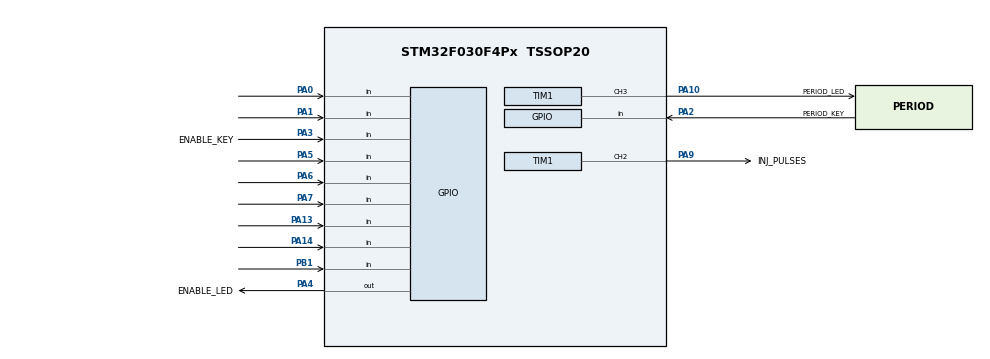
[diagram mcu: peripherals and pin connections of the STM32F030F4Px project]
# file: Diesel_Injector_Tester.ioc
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IWDG.Prescaler=IWDG_PRESCALER_8
IWDG.Reload=50
IWDG.Window=50
Mcu.Family=STM32F0
Mcu.Name=STM32F030F4Px
Mcu.Package=TSSOP20
PA0.GPIO_PuPd=GPIO_PULLUP
PA0.Signal=GPIO_Input
PA1.GPIO_PuPd=GPIO_PULLUP
PA1.Signal=GPIO_Input
PA10.GPIO_Label=PERIOD_LED
PA10.GPIO_Speed=GPIO_SPEED_FREQ_HIGH
PA10.Signal=S_TIM1_CH3
PA13.GPIO_PuPd=GPIO_PULLUP
PA13.Signal=GPIO_Input
PA14.GPIO_PuPd=GPIO_PULLUP
PA14.Signal=GPIO_Input
PA2.GPIO_Label=PERIOD_KEY
PA2.GPIO_PuPd=GPIO_PULLUP
PA2.Signal=GPIO_Input
PA3.GPIO_Label=ENABLE_KEY
PA3.GPIO_PuPd=GPIO_PULLUP
PA3.Signal=GPIO_Input
PA4.GPIO_Label=ENABLE_LED
PA4.GPIO_Speed=GPIO_SPEED_FREQ_HIGH
PA4.Signal=GPIO_Output
PA5.GPIO_PuPd=GPIO_PULLUP
PA5.Signal=GPIO_Input
PA6.GPIO_PuPd=GPIO_PULLUP
PA6.Signal=GPIO_Input
PA7.GPIO_PuPd=GPIO_PULLUP
PA7.Signal=GPIO_Input
PA9.GPIO_Label=INJ_PULSES
PA9.GPIO_Speed=GPIO_SPEED_FREQ_HIGH
PA9.Signal=S_TIM1_CH2
PB1.GPIO_PuPd=GPIO_PULLUP
PB1.Signal=GPIO_Input
PF0-OSC_IN.Mode=HSE-External-Oscillator
PF0-OSC_IN.Signal=RCC_OSC_IN
PF1-OSC_OUT.Mode=HSE-External-Oscillator
PF1-OSC_OUT.Signal=RCC_OSC_OUT
ProjectManager.HeapSize=0x200
ProjectManager.StackSize=0x400
ProjectManager.TargetToolchain=STM32CubeIDE
RCC.AHBCLKDivider=RCC_SYSCLK_DIV4
RCC.AHBFreq_Value=10000000
RCC.APB1Freq_Value=10000000
RCC.APB1TimFreq_Value=10000000
RCC.HCLKFreq_Value=10000000
RCC.HSE_VALUE=10000000
RCC.PLLMUL=RCC_PLL_MUL4
RCC.PLLSourceVirtual=RCC_PLLSOURCE_HSE
RCC.SYSCLKFreq_VALUE=40000000
RCC.SYSCLKSource=RCC_SYSCLKSOURCE_PLLCLK
SH.S_TIM1_CH2.0=TIM1_CH2,PWM Generation2 CH2
SH.S_TIM1_CH3.0=TIM1_CH3,PWM Generation3 CH3
TIM1.Channel-PWM\ Generation2\ CH2=TIM_CHANNEL_2
TIM1.Channel-PWM\ Generation3\ CH3=TIM_CHANNEL_3
TIM1.Period=1999
TIM1.Prescaler=999
TIM1.Pulse-PWM\ Generation2\ CH2=20
TIM1.Pulse-PWM\ Generation3\ CH3=500
TIM14.Prescaler=9999
VP_IWDG_VS_IWDG.Mode=IWDG_Activate
VP_TIM14_VS_ClockSourceINT.Mode=Enable_Timer
board=custom

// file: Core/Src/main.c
/* USER CODE BEGIN Header */
/**
  ******************************************************************************
  * @file           : main.c
  * @brief          : Main program body
  ******************************************************************************
  * @attention
  *
  * Copyright (c) 2025 STMicroelectronics.
  * All rights reserved.
  *
  * This software is licensed under terms that can be found in the LICENSE file
  * in the root directory of this software component.
  * If no LICENSE file comes with this software, it is provided AS-IS.
  *
  ******************************************************************************
  */
/* USER CODE END Header */
#include "main.h"
#include "iwdg.h"
#include "tim.h"
#include "gpio.h"

/* USER CODE BEGIN Includes */
#include <stdint.h>
#include <stdbool.h>
/* USER CODE END Includes */

void SystemClock_Config(void);

/* USER CODE BEGIN 0 */

/* ----------------------------------- LED ----------------------------------- */

/* LEDs definitions */
#define ENABLE_LED_ON			LL_GPIO_SetOutputPin(ENABLE_LED_GPIO_Port, ENABLE_LED_Pin)
#define ENABLE_LED_OFF			LL_GPIO_ResetOutputPin(ENABLE_LED_GPIO_Port, ENABLE_LED_Pin)

/* ------------------------------ OUTPUT TIMER ------------------------------- */

/* Injector periods */
#define NUMBER_OF_PERIODS	6
#define DEFAULT_PERIOD_IDX	2	//1Hz

#define MINIMUM_PERIOD		500	//20Hz

void Init_output_timer(uint16_t default_period)
{
	/* Set default period */
	LL_TIM_SetAutoReload(TIM1, (default_period > MINIMUM_PERIOD) ? (default_period - 1) : MINIMUM_PERIOD);

	/* Enable outputs */
	LL_TIM_EnableAllOutputs(TIM1);

	/* Enable counter */
	LL_TIM_EnableCounter(TIM1);

	/* Enable pulse LED, disable INJ pulses */
	LL_TIM_CC_EnableChannel(TIM1, LL_TIM_CHANNEL_CH3);
	LL_TIM_CC_DisableChannel(TIM1, LL_TIM_CHANNEL_CH2);
}

void Change_output_timer_period(uint16_t period, uint8_t pulses_enabled)
{
	/* Disable outputs and timer counter */
	LL_TIM_CC_DisableChannel(TIM1, LL_TIM_CHANNEL_CH2);
	LL_TIM_CC_DisableChannel(TIM1, LL_TIM_CHANNEL_CH3);
	LL_TIM_DisableCounter(TIM1);

	/* Reset counter */
	LL_TIM_SetCounter(TIM1, 0);

	/* Change period */
	LL_TIM_SetAutoReload(TIM1, (period > MINIMUM_PERIOD) ? (period - 1) : MINIMUM_PERIOD);

	/* Enable LED */
	LL_TIM_CC_EnableChannel(TIM1, LL_TIM_CHANNEL_CH3);

	/* Enable INJ pulses back only if flag is set */
	if(pulses_enabled == true)
	{
		LL_TIM_CC_EnableChannel(TIM1, LL_TIM_CHANNEL_CH2);
	}

	/* Enable counter back again */
	LL_TIM_EnableCounter(TIM1);
}

/* -------------------------------- KEYBOARD --------------------------------- */

/* Keyboard definitions */
#define KEYBOARD_DEBOUNCE_TIME	200	//ms

#define PERIOD_KEY_IS_PRESSED	(!(LL_GPIO_IsInputPinSet(PERIOD_KEY_GPIO_Port, PERIOD_KEY_Pin)))
#define ENABLE_KEY_IS_PRESSED	(!(LL_GPIO_IsInputPinSet(ENABLE_KEY_GPIO_Port, ENABLE_KEY_Pin)))
#define ALL_KEYS_ARE_RELEASED	(LL_GPIO_IsInputPinSet(PERIOD_KEY_GPIO_Port, PERIOD_KEY_Pin) && LL_GPIO_IsInputPinSet(ENABLE_KEY_GPIO_Port, ENABLE_KEY_Pin))

#define CLEAR_KBD_TIMER			LL_TIM_SetCounter(TIM14, 0)

enum KEYBOARD_KEYS
{
	NO_KEY		= 0,
	PERIOD_KEY	= 1,
	ENABLE_KEY	= 2
};

volatile uint8_t keyboard_locked = true;

void Init_keyboard(void)
{
	/* Keyboard is locked by default, to prevent accidental changes */
	keyboard_locked = true;

	/* Init keyboard timer */
	LL_TIM_EnableCounter(TIM14);

	/* Clear keyboard timer */
	CLEAR_KBD_TIMER;
}

uint8_t Get_keyboard_key(void)
{
	uint8_t key = NO_KEY;

	/* Check if keyboard is unlocked */
	if(keyboard_locked == false)
	{
		if(PERIOD_KEY_IS_PRESSED)
		{
			/* If PERIOD key is pressed, set key to PERIOD_KEY */
			key = PERIOD_KEY;

			/* Debounce keys */
			keyboard_locked = true;
			CLEAR_KBD_TIMER;
		}
		else if(ENABLE_KEY_IS_PRESSED)
		{
			/* If ENABLE key is pressed, set key to ENABLE_KEY */
			key = ENABLE_KEY;

			/* Debounce keys */
			keyboard_locked = true;
			CLEAR_KBD_TIMER;
		}
	}
	else
	{
		/* If keyboard is locked, check if timer has expired */
		if(LL_TIM_GetCounter(TIM14) > KEYBOARD_DEBOUNCE_TIME)
		{
			/* Unlock keyboard if all keys are released */
			if(ALL_KEYS_ARE_RELEASED)
			{
				/* Unlock keyboard */
				keyboard_locked = false;
			}
			else
			{
				/* Reset timer, wait another period */
				CLEAR_KBD_TIMER;
			}
		}

		/* If keyboard is locked, return NO_KEY */
		key = NO_KEY;
	}

	return key;
}

/* USER CODE END 0 */

int main(void)
{

  /* MCU Configuration--------------------------------------------------------*/

  /* Reset of all peripherals, Initializes the Flash interface and the Systick. */
  LL_APB1_GRP2_EnableClock(LL_APB1_GRP2_PERIPH_SYSCFG);
  LL_APB1_GRP1_EnableClock(LL_APB1_GRP1_PERIPH_PWR);

  /* SysTick_IRQn interrupt configuration */
  NVIC_SetPriority(SysTick_IRQn, 3);

  /* Configure the system clock */
  SystemClock_Config();

  /* Initialize all configured peripherals */
  MX_GPIO_Init();
  MX_TIM1_Init();
  MX_TIM14_Init();
  MX_IWDG_Init();
  /* USER CODE BEGIN 2 */

	/* Handle WDT */
	LL_IWDG_ReloadCounter(IWDG);

	const uint16_t auto_reload_periods[NUMBER_OF_PERIODS] = {50000, 20000, 10000, 5000, 2000, 1000};	//0.2Hz, 0.5Hz, 1Hz, 2Hz, 5Hz, 10Hz

	uint8_t injector_pulses_enabled	= false;
	uint8_t current_period			= DEFAULT_PERIOD_IDX;

	ENABLE_LED_OFF;

	/* Init output timer */
	Init_output_timer(auto_reload_periods[DEFAULT_PERIOD_IDX]);	//1Hz

	/* Init keyboard */
	Init_keyboard();

  /* USER CODE END 2 */

  /* Infinite loop */
  /* USER CODE BEGIN WHILE */
	while (1)
	{
		switch(Get_keyboard_key())
		{
			case PERIOD_KEY:

				/* Switch to next period */
				current_period++;
				if(current_period >= NUMBER_OF_PERIODS)
				{
					current_period = 0;
				}

				/* Update settings */
				Change_output_timer_period(auto_reload_periods[current_period], injector_pulses_enabled);
				break;

			case ENABLE_KEY:

				/* Toggle enable flag */
				if(injector_pulses_enabled == true)
				{
					ENABLE_LED_OFF;

					injector_pulses_enabled = false;
				}
				else
				{
					ENABLE_LED_ON;

					injector_pulses_enabled = true;
				}

				/* Update settings */
				Change_output_timer_period(auto_reload_periods[current_period], injector_pulses_enabled);
				break;

			default:

				/* No key pressed, do nothing */
				break;
		}

		/* Handle WDT */
		LL_IWDG_ReloadCounter(IWDG);
    /* USER CODE END WHILE */

	}
}

void SystemClock_Config(void)
{
  LL_FLASH_SetLatency(LL_FLASH_LATENCY_1);
  while(LL_FLASH_GetLatency() != LL_FLASH_LATENCY_1)
  {
  }
  LL_RCC_HSE_Enable();

   /* Wait till HSE is ready */
  while(LL_RCC_HSE_IsReady() != 1)
  {

  }
  LL_RCC_LSI_Enable();

   /* Wait till LSI is ready */
  while(LL_RCC_LSI_IsReady() != 1)
  {

  }
  LL_RCC_PLL_ConfigDomain_SYS(LL_RCC_PLLSOURCE_HSE_DIV_1, LL_RCC_PLL_MUL_4);
  LL_RCC_PLL_Enable();

   /* Wait till PLL is ready */
  while(LL_RCC_PLL_IsReady() != 1)
  {

  }
  LL_RCC_SetAHBPrescaler(LL_RCC_SYSCLK_DIV_4);
  LL_RCC_SetAPB1Prescaler(LL_RCC_APB1_DIV_1);
  LL_RCC_SetSysClkSource(LL_RCC_SYS_CLKSOURCE_PLL);

   /* Wait till System clock is ready */
  while(LL_RCC_GetSysClkSource() != LL_RCC_SYS_CLKSOURCE_STATUS_PLL)
  {

  }
  LL_Init1msTick(10000000);
  LL_SetSystemCoreClock(10000000);
}

void Error_Handler(void)
{
  __disable_irq();
  while (1)
  {
  }
}
